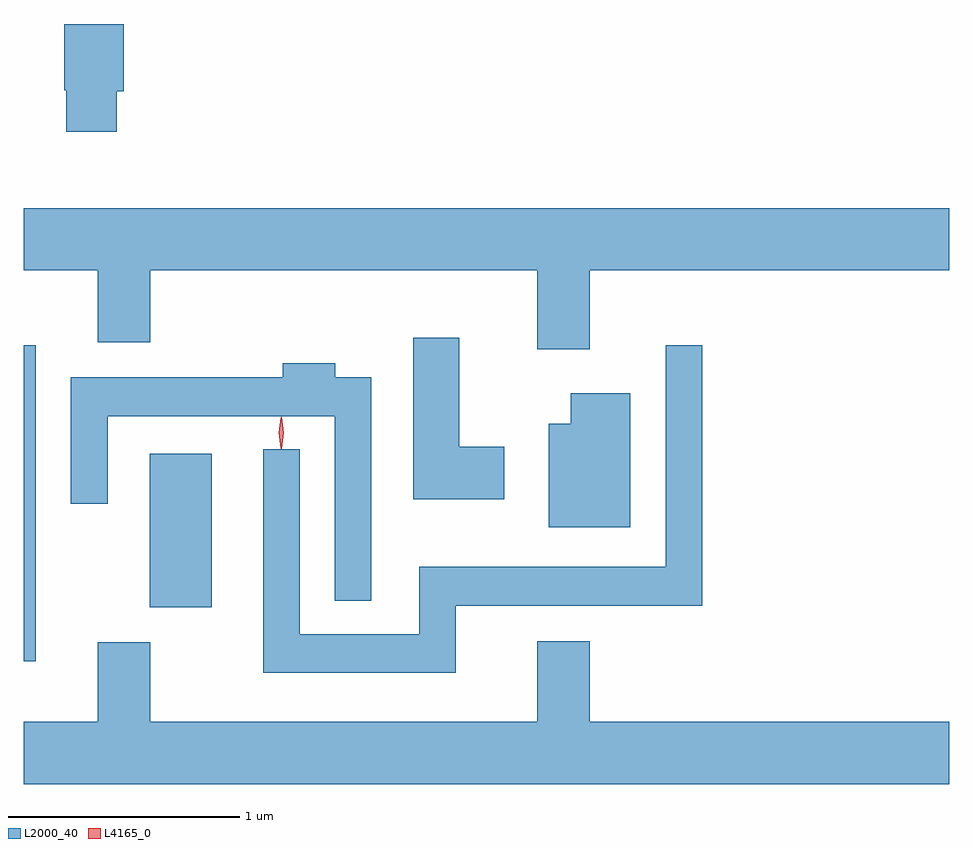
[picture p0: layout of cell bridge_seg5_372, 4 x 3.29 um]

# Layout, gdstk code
import gdstk
lib = gdstk.Library(unit=1e-6, precision=1e-09)
def R(c, l, rs):  # rectangles x0, y0, x1, y1
    for r in rs: c.add(gdstk.rectangle(r[:2], r[2:], *l))
def P(c, l, *ps):  # polygons
    for p in ps: c.add(gdstk.Polygon(p, *l))
L2000_40 = (2000, 40)
L4165_0 = (4165, 0)

bridge_seg5_372 = lib.new_cell('bridge_seg5_372')
R(bridge_seg5_372, L2000_40, [(488.522,1488.406,488.574,1489.773), (489.066,1488.641,489.334,1489.304)])
P(bridge_seg5_372, L2000_40, [(488.924,1490.871),(488.954,1490.871),(488.954,1491.161),(488.696,1491.161),(488.696,1490.875),(488.706,1490.875),(488.706,1490.696),(488.924,1490.696)],
  [(490.969,1490.096),(492.522,1490.096),(492.522,1490.364),(488.522,1490.364),(488.522,1490.096),(488.841,1490.096),(488.841,1489.786),(489.069,1489.786),(489.069,1490.096),(490.741,1490.096),(490.741,1489.756),(490.969,1489.756)],
  [(490.599,1489.334),(490.404,1489.334),(490.404,1489.804),(490.206,1489.804),(490.206,1489.106),(490.599,1489.106)],
  [(490.389,1488.646),(491.454,1488.646),(491.454,1489.773),(491.296,1489.773),(491.296,1488.814),(490.231,1488.814),(490.231,1488.524),(489.714,1488.524),(489.714,1489.323),(489.556,1489.323),(489.556,1488.356),(490.389,1488.356)],
  [(490.024,1489.634),(489.869,1489.634),(489.869,1489.694),(489.641,1489.694),(489.641,1489.634),(488.726,1489.634),(488.726,1489.088),(488.884,1489.088),(488.884,1489.466),(489.866,1489.466),(489.866,1488.668),(490.024,1488.668)],
  [(491.144,1489.564),(490.886,1489.564),(490.886,1489.434),(490.791,1489.434),(490.791,1488.986),(491.144,1488.986)],
  [(488.841,1488.489),(488.841,1488.144),(488.522,1488.144),(488.522,1487.876),(492.522,1487.876),(492.522,1488.144),(490.969,1488.144),(490.969,1488.494),(490.741,1488.494),(490.741,1488.144),(489.069,1488.144),(489.069,1488.489)])
P(bridge_seg5_372, L4165_0, [(489.634,1489.324),(489.625,1489.394),(489.634,1489.462),(489.635,1489.463),(489.636,1489.462),(489.645,1489.394),(489.636,1489.324),(489.635,1489.324)],
  [(489.633,1489.327),(489.632,1489.328),(489.623,1489.394),(489.632,1489.46),(489.632,1489.46),(489.633,1489.46),(489.642,1489.394),(489.633,1489.328)])

lib.write_gds('bridge_seg5_372.gds')
